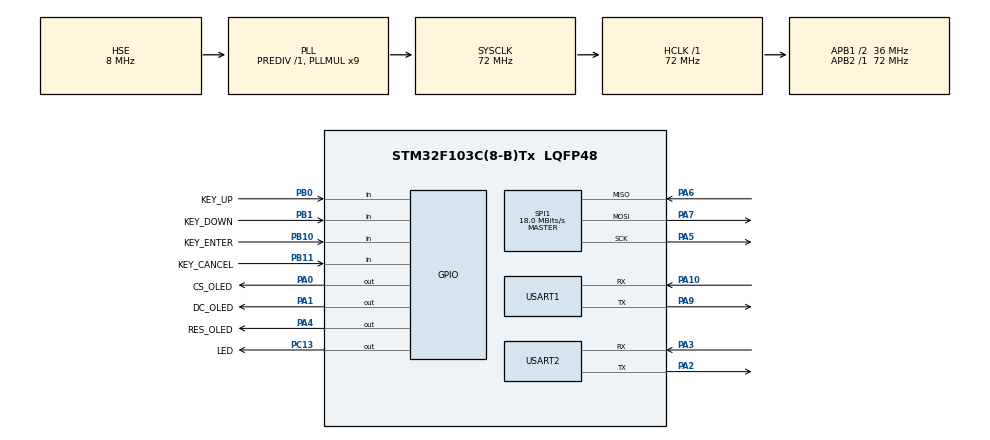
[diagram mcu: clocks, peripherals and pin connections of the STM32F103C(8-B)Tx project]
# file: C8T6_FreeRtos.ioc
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Dma.Request0=SPI1_TX
Dma.Request1=USART1_RX
Dma.Request2=USART1_TX
Dma.Request3=USART2_TX
Dma.Request4=USART2_RX
Dma.SPI1_TX.0.Direction=DMA_MEMORY_TO_PERIPH
Dma.SPI1_TX.0.Instance=DMA1_Channel3
Dma.SPI1_TX.0.MemDataAlignment=DMA_MDATAALIGN_BYTE
Dma.SPI1_TX.0.MemInc=DMA_MINC_ENABLE
Dma.SPI1_TX.0.Mode=DMA_NORMAL
Dma.SPI1_TX.0.PeriphDataAlignment=DMA_PDATAALIGN_BYTE
Dma.SPI1_TX.0.PeriphInc=DMA_PINC_DISABLE
Dma.SPI1_TX.0.Priority=DMA_PRIORITY_LOW
Dma.USART1_RX.1.Direction=DMA_PERIPH_TO_MEMORY
Dma.USART1_RX.1.Instance=DMA1_Channel5
Dma.USART1_RX.1.MemDataAlignment=DMA_MDATAALIGN_BYTE
Dma.USART1_RX.1.MemInc=DMA_MINC_ENABLE
Dma.USART1_RX.1.Mode=DMA_NORMAL
Dma.USART1_RX.1.PeriphDataAlignment=DMA_PDATAALIGN_BYTE
Dma.USART1_RX.1.PeriphInc=DMA_PINC_DISABLE
Dma.USART1_RX.1.Priority=DMA_PRIORITY_LOW
Dma.USART1_TX.2.Direction=DMA_MEMORY_TO_PERIPH
Dma.USART1_TX.2.Instance=DMA1_Channel4
Dma.USART1_TX.2.MemDataAlignment=DMA_MDATAALIGN_BYTE
Dma.USART1_TX.2.MemInc=DMA_MINC_ENABLE
Dma.USART1_TX.2.Mode=DMA_NORMAL
Dma.USART1_TX.2.PeriphDataAlignment=DMA_PDATAALIGN_BYTE
Dma.USART1_TX.2.PeriphInc=DMA_PINC_DISABLE
Dma.USART1_TX.2.Priority=DMA_PRIORITY_LOW
Dma.USART2_RX.4.Direction=DMA_PERIPH_TO_MEMORY
Dma.USART2_RX.4.Instance=DMA1_Channel6
Dma.USART2_RX.4.MemDataAlignment=DMA_MDATAALIGN_BYTE
Dma.USART2_RX.4.MemInc=DMA_MINC_ENABLE
Dma.USART2_RX.4.Mode=DMA_NORMAL
Dma.USART2_RX.4.PeriphDataAlignment=DMA_PDATAALIGN_BYTE
Dma.USART2_RX.4.PeriphInc=DMA_PINC_DISABLE
Dma.USART2_RX.4.Priority=DMA_PRIORITY_LOW
Dma.USART2_TX.3.Direction=DMA_MEMORY_TO_PERIPH
Dma.USART2_TX.3.Instance=DMA1_Channel7
Dma.USART2_TX.3.MemDataAlignment=DMA_MDATAALIGN_BYTE
Dma.USART2_TX.3.MemInc=DMA_MINC_ENABLE
Dma.USART2_TX.3.Mode=DMA_NORMAL
Dma.USART2_TX.3.PeriphDataAlignment=DMA_PDATAALIGN_BYTE
Dma.USART2_TX.3.PeriphInc=DMA_PINC_DISABLE
Dma.USART2_TX.3.Priority=DMA_PRIORITY_LOW
FREERTOS.Events01=UART_EVENT,Dynamic,NULL
FREERTOS.Mutexes01=UART_TXMute,Dynamic,NULL,Available
FREERTOS.Queues01=ACK_Queue,10,prama_Cmd_packet,0,Dynamic,NULL,NULL
FREERTOS.Tasks01=U8G2_TASK,24,128,U8g2_Task,Default,NULL,Dynamic,NULL,NULL;KEY_TASK,8,128,KEY_Task,Default,NULL,Dynamic,NULL,NULL;UART_TASK,47,128,uart_task,Default,NULL,Dynamic,NULL,NULL;ACK_Task,16,128,ACK_TASK,Default,NULL,Dynamic,NULL,NULL
Mcu.Family=STM32F1
Mcu.Name=STM32F103C(8-B)Tx
Mcu.Package=LQFP48
NVIC.DMA1_Channel3_IRQn=true\:5\:0\:false\:false\:true\:true\:false\:true\:true
NVIC.DMA1_Channel4_IRQn=true\:5\:0\:false\:false\:true\:true\:false\:true\:true
NVIC.DMA1_Channel5_IRQn=true\:5\:0\:false\:false\:true\:true\:false\:true\:true
NVIC.DMA1_Channel6_IRQn=true\:5\:0\:false\:false\:true\:true\:false\:true\:true
NVIC.DMA1_Channel7_IRQn=true\:5\:0\:false\:false\:true\:true\:false\:true\:true
NVIC.PriorityGroup=NVIC_PRIORITYGROUP_4
NVIC.TIM4_IRQn=true\:15\:0\:false\:false\:true\:false\:false\:true\:true
NVIC.TimeBase=TIM4_IRQn
NVIC.TimeBaseIP=TIM4
NVIC.USART1_IRQn=true\:5\:0\:false\:false\:true\:true\:true\:true\:true
PA0-WKUP.GPIO_Label=CS_OLED
PA0-WKUP.Signal=GPIO_Output
PA1.GPIO_Label=DC_OLED
PA1.Signal=GPIO_Output
PA10.Mode=Asynchronous
PA10.Signal=USART1_RX
PA13.Mode=Serial_Wire
PA13.Signal=SYS_JTMS-SWDIO
PA14.Mode=Serial_Wire
PA14.Signal=SYS_JTCK-SWCLK
PA2.Mode=Asynchronous
PA2.Signal=USART2_TX
PA3.Mode=Asynchronous
PA3.Signal=USART2_RX
PA4.GPIO_Label=RES_OLED
PA4.Signal=GPIO_Output
PA5.Mode=Full_Duplex_Master
PA5.Signal=SPI1_SCK
PA6.Mode=Full_Duplex_Master
PA6.Signal=SPI1_MISO
PA7.Mode=Full_Duplex_Master
PA7.Signal=SPI1_MOSI
PA9.Mode=Asynchronous
PA9.Signal=USART1_TX
PB0.GPIO_Label=KEY_UP
PB0.GPIO_PuPd=GPIO_PULLDOWN
PB0.Signal=GPIO_Input
PB1.GPIO_Label=KEY_DOWN
PB1.GPIO_PuPd=GPIO_PULLDOWN
PB1.Signal=GPIO_Input
PB10.GPIO_Label=KEY_ENTER
PB10.GPIO_PuPd=GPIO_PULLDOWN
PB10.Signal=GPIO_Input
PB11.GPIO_Label=KEY_CANCEL
PB11.GPIO_PuPd=GPIO_PULLDOWN
PB11.Signal=GPIO_Input
PC13-TAMPER-RTC.GPIO_Label=LED
PC13-TAMPER-RTC.Signal=GPIO_Output
PC14-OSC32_IN.Mode=LSE-External-Oscillator
PC14-OSC32_IN.Signal=RCC_OSC32_IN
PC15-OSC32_OUT.Mode=LSE-External-Oscillator
PC15-OSC32_OUT.Signal=RCC_OSC32_OUT
PD0-OSC_IN.Mode=HSE-External-Oscillator
PD0-OSC_IN.Signal=RCC_OSC_IN
PD1-OSC_OUT.Mode=HSE-External-Oscillator
PD1-OSC_OUT.Signal=RCC_OSC_OUT
ProjectManager.HeapSize=0x200
ProjectManager.StackSize=0x800
ProjectManager.TargetToolchain=MDK-ARM V5.32
RCC.AHBFreq_Value=72000000
RCC.APB1CLKDivider=RCC_HCLK_DIV2
RCC.APB1Freq_Value=36000000
RCC.APB1TimFreq_Value=72000000
RCC.APB2Freq_Value=72000000
RCC.APB2TimFreq_Value=72000000
RCC.HCLKFreq_Value=72000000
RCC.PLLMUL=RCC_PLL_MUL9
RCC.PLLSourceVirtual=RCC_PLLSOURCE_HSE
RCC.RTCClockSelection=RCC_RTCCLKSOURCE_LSE
RCC.SYSCLKFreq_VALUE=72000000
RCC.SYSCLKSource=RCC_SYSCLKSOURCE_PLLCLK
RCC.USBFreq_Value=72000000
RTC.Date=29
RTC.Format=RTC_FORMAT_BIN
RTC.Hours=18
RTC.Minutes=45
RTC.Month=RTC_MONTH_SEPTEMBER
RTC.Seconds=12
RTC.WeekDay=RTC_WEEKDAY_TUESDAY
RTC.Year=25
SPI1.BaudRatePrescaler=SPI_BAUDRATEPRESCALER_4
SPI1.CalculateBaudRate=18.0 MBits/s
SPI1.Direction=SPI_DIRECTION_2LINES
SPI1.Mode=SPI_MODE_MASTER
SPI1.VirtualType=VM_MASTER
USART1.VirtualMode=VM_ASYNC
USART2.VirtualMode=VM_ASYNC
VP_FREERTOS_VS_CMSIS_V2.Mode=CMSIS_V2
VP_RTC_No_RTC_Output.Mode=RTC_OUT_NO
VP_RTC_VS_RTC_Activate.Mode=RTC_Enabled
VP_RTC_VS_RTC_Calendar.Mode=RTC_Calendar
VP_SYS_VS_tim4.Mode=TIM4
board=custom

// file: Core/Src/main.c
/* USER CODE BEGIN Header */
/**
  ******************************************************************************
  * @file           : main.c
  * @brief          : Main program body
  ******************************************************************************
  * @attention
  *
  * Copyright (c) 2025 STMicroelectronics.
  * All rights reserved.
  *
  * This software is licensed under terms that can be found in the LICENSE file
  * in the root directory of this software component.
  * If no LICENSE file comes with this software, it is provided AS-IS.
  *
  ******************************************************************************
  */
/* USER CODE END Header */
#include "main.h"
#include "cmsis_os.h"
#include "dma.h"
#include "rtc.h"
#include "spi.h"
#include "usart.h"
#include "gpio.h"

/* USER CODE BEGIN Includes */
#include "freertos.h"
#include "oled.h"
#include "string.h"
#include "u8g2.h"
#include "u8g2_user.h"
#include "stm32f1xx_ll_tim.h"
/* USER CODE END Includes */

/* USER CODE BEGIN PM */
extern osEventFlagsId_t KEY_EVENTHandle;
extern osMessageQueueId_t UART_QUEUEHandle;
extern osEventFlagsId_t UART_EVENTHandle;
/* USER CODE END PM */

/* USER CODE BEGIN PV */
// 空闲中断缓冲�?
uint8_t temp[16] = {0};
extern DMA_HandleTypeDef hdma_usart1_rx;
/* USER CODE END PV */

void SystemClock_Config(void);
void MX_FREERTOS_Init(void);

int main(void)
{

  /* MCU Configuration--------------------------------------------------------*/

  /* Reset of all peripherals, Initializes the Flash interface and the Systick. */
  HAL_Init();

  /* Configure the system clock */
  SystemClock_Config();

  /* Initialize all configured peripherals */
  MX_GPIO_Init();
  MX_DMA_Init();
  MX_SPI1_Init();
  MX_USART1_UART_Init();
  MX_USART2_UART_Init();
  MX_RTC_Init();
  /* USER CODE BEGIN 2 */
  // 启动空闲中断
	HAL_UARTEx_ReceiveToIdle_DMA(&huart1,temp,sizeof(temp));
  /* USER CODE END 2 */

  /* Init scheduler */
  osKernelInitialize();  /* Call init function for freertos objects (in cmsis_os2.c) */
  MX_FREERTOS_Init();

  /* Start scheduler */
  osKernelStart();

  /* We should never get here as control is now taken by the scheduler */

  /* Infinite loop */
  while (1)
  {

  }
}

void SystemClock_Config(void)
{
  RCC_OscInitTypeDef RCC_OscInitStruct = {0};
  RCC_ClkInitTypeDef RCC_ClkInitStruct = {0};
  RCC_PeriphCLKInitTypeDef PeriphClkInit = {0};

  /** Initializes the RCC Oscillators according to the specified parameters
  * in the RCC_OscInitTypeDef structure.
  */
  RCC_OscInitStruct.OscillatorType = RCC_OSCILLATORTYPE_HSE|RCC_OSCILLATORTYPE_LSE;
  RCC_OscInitStruct.HSEState = RCC_HSE_ON;
  RCC_OscInitStruct.HSEPredivValue = RCC_HSE_PREDIV_DIV1;
  RCC_OscInitStruct.LSEState = RCC_LSE_ON;
  RCC_OscInitStruct.HSIState = RCC_HSI_ON;
  RCC_OscInitStruct.PLL.PLLState = RCC_PLL_ON;
  RCC_OscInitStruct.PLL.PLLSource = RCC_PLLSOURCE_HSE;
  RCC_OscInitStruct.PLL.PLLMUL = RCC_PLL_MUL9;
  if (HAL_RCC_OscConfig(&RCC_OscInitStruct) != HAL_OK)
  {
    Error_Handler();
  }

  /** Initializes the CPU, AHB and APB buses clocks
  */
  RCC_ClkInitStruct.ClockType = RCC_CLOCKTYPE_HCLK|RCC_CLOCKTYPE_SYSCLK
                              |RCC_CLOCKTYPE_PCLK1|RCC_CLOCKTYPE_PCLK2;
  RCC_ClkInitStruct.SYSCLKSource = RCC_SYSCLKSOURCE_PLLCLK;
  RCC_ClkInitStruct.AHBCLKDivider = RCC_SYSCLK_DIV1;
  RCC_ClkInitStruct.APB1CLKDivider = RCC_HCLK_DIV2;
  RCC_ClkInitStruct.APB2CLKDivider = RCC_HCLK_DIV1;

  if (HAL_RCC_ClockConfig(&RCC_ClkInitStruct, FLASH_LATENCY_2) != HAL_OK)
  {
    Error_Handler();
  }
  PeriphClkInit.PeriphClockSelection = RCC_PERIPHCLK_RTC;
  PeriphClkInit.RTCClockSelection = RCC_RTCCLKSOURCE_LSE;
  if (HAL_RCCEx_PeriphCLKConfig(&PeriphClkInit) != HAL_OK)
  {
    Error_Handler();
  }
}

/* USER CODE BEGIN 4 */

void HAL_UARTEx_RxEventCallback(UART_HandleTypeDef *huart, uint16_t Size)
{
  UartFrame* frame = Get_Uart_Frame_Buffer();
  if (huart->Instance == USART1)
  {
    osEventFlagsSet(UART_EVENTHandle,UART_RECEIVE_EVENT );
	  HAL_UARTEx_ReceiveToIdle_DMA(&huart1,temp,sizeof(temp));
    Uart_Buffer_Put_frame(frame, temp, Size);
	  __HAL_DMA_DISABLE_IT(&hdma_usart1_rx,DMA_IT_HT);      //过半中断，为了保证数据完整�?�，必须�?启它
  }

}

void HAL_UART_ErrorCallback(UART_HandleTypeDef* huart) {
    if (huart->Instance == USART1)
    {
        LOG_FATAL("UART error: 0x%08lX", huart->ErrorCode);

        // 清除错误并重新初始化
        huart->ErrorCode = HAL_UART_ERROR_NONE;

      if (__HAL_UART_GET_FLAG(&huart1, UART_FLAG_ORE))
      {
          LOG_WARN("ORE detected in task, recovering...");
          __HAL_UART_CLEAR_OREFLAG(&huart1);
          // 重新启动DMA接收
          HAL_UARTEx_ReceiveToIdle_DMA(&huart1, temp, sizeof(temp));
      }
    }
}

/* USER CODE END 4 */

void HAL_TIM_PeriodElapsedCallback(TIM_HandleTypeDef *htim)
{
  if (htim->Instance == TIM4)
  {
    HAL_IncTick();
  }
}

void Error_Handler(void)
{
  __disable_irq();
  while (1)
  {
  }
}

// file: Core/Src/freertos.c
/* USER CODE BEGIN Header */
/**
  ******************************************************************************
  * File Name          : freertos.c
  * Description        : Code for freertos applications
  ******************************************************************************
  * @attention
  *
  * Copyright (c) 2025 STMicroelectronics.
  * All rights reserved.
  *
  * This software is licensed under terms that can be found in the LICENSE file
  * in the root directory of this software component.
  * If no LICENSE file comes with this software, it is provided AS-IS.
  *
  ******************************************************************************
  */
/* USER CODE END Header */

#include "FreeRTOS.h"
#include "task.h"
#include "main.h"
#include "cmsis_os.h"

/* USER CODE BEGIN Includes */
#include "u8g2.h"
#include "u8g2_user.h"
#include "menu.h"
#include "protocol.h"
#include "Log.h"
#include "rtc.h"
#include "multikey.h"
/* USER CODE END Includes */

/* USER CODE BEGIN PTD */
#define SLAVE_MODE 0
#define MENU_USE_CMSIS_OS2
/* USER CODE END PTD */

/* USER CODE BEGIN PM */
prama_Cmd_packet Ack_packet = {
  .cmd_type = ACK,
  .param_value = {0}
};
/* USER CODE END PM */

typedef struct
{
  Rounter rounter;
  uint8_t passenger_num;
}Route_Info;
#define Router_NUM 4
Route_Info route_info[Router_NUM];

VehicleStatus status = STATUS_IDLE;  // 车辆状态，默认为空闲状态
extern uint8_t temp[16];                                                          // 来自main.c的缓冲区
u8g2_t u8g2;                                                                      // u8g2对象
int index = 0;                                                                    // String_Option的字符串数组索引
const char* router_str[Router_NUM] = {"Rounter1","Rounter2","Rounter3","Ring",};
const char* String_Option[] = {"begin","test1","test2","test3","end"};            // 测试的字符串
bool toggle = false;                                                              // 测试bool节点的变�???
int32_t passenger_num[Router_NUM] = {0};                                                        // 存储乘客的变�???
uint8_t passenger_temp[Router_NUM] = {0};                                         // 暂存passenger的数量的变量，一旦与实际passenger不同，立刻向esp32发�?�信�???
// 用于跟踪菜单信息的数据结构体指指�???
menu_data_t* menu_data_ptr;
// 节点指针
menu_item_t* root = NULL;
menu_item_t* sub1 = NULL;
menu_item_t* sub2 = NULL;
menu_item_t* sub3 = NULL;
menu_item_t* sub4 = NULL;
menu_item_t* sub5 = NULL;
menu_item_t* sub1_sub1 = NULL;
menu_item_t* sub1_sub2 = NULL;
menu_item_t* sub1_sub3 = NULL;
menu_item_t* sub1_sub4 = NULL;
menu_item_t* sub2_sub1 = NULL;
menu_item_t* sub2_sub2 = NULL;
menu_item_t* main_display = NULL;
menu_item_t* sub4_sub1 = NULL;
menu_item_t* sub4_sub2 = NULL;
menu_item_t* sub4_sub3 = NULL;
menu_item_t* sub4_sub4 = NULL;
menu_item_t* sub4_sub5 = NULL;
menu_item_t* sub4_sub6 = NULL;
menu_item_t* sub4_sub7 = NULL;
menu_item_t* sub5_sub1 = NULL;
menu_item_t* sub5_sub2 = NULL;
menu_item_t* sub5_sub3 = NULL;
menu_item_t* sub5_sub4 = NULL;
menu_item_t* sub5_sub5 = NULL;
menu_item_t* sub5_sub6 = NULL;

// RTC内部结构�???
  RTC_DateTypeDef sDate = {0};
  RTC_TimeTypeDef sTime = {0};
typedef struct
{
  int32_t seconds;                  // 暂存�???
  int32_t minutes;                  // 暂存�???
  int32_t hours;                    // 暂存�???
  int32_t day;                      // 暂存�???
  int32_t month;                    // 暂存�???
  int32_t year;                     // 暂存�???
}Clock_t;
Clock_t Clock = {0};                // 暂存时间结构�???
/* USER CODE END Variables */
/* Definitions for U8G2_TASK */
osThreadId_t U8G2_TASKHandle;
const osThreadAttr_t U8G2_TASK_attributes = {
  .name = "U8G2_TASK",
  .stack_size = 128 * 4,
  .priority = (osPriority_t) osPriorityNormal,
};
/* Definitions for KEY_TASK */
osThreadId_t KEY_TASKHandle;
const osThreadAttr_t KEY_TASK_attributes = {
  .name = "KEY_TASK",
  .stack_size = 128 * 4,
  .priority = (osPriority_t) osPriorityLow,
};
/* Definitions for UART_TASK */
osThreadId_t UART_TASKHandle;
const osThreadAttr_t UART_TASK_attributes = {
  .name = "UART_TASK",
  .stack_size = 128 * 4,
  .priority = (osPriority_t) osPriorityHigh7,
};
/* Definitions for ACK_Task */
osThreadId_t ACK_TaskHandle;
const osThreadAttr_t ACK_Task_attributes = {
  .name = "ACK_Task",
  .stack_size = 128 * 4,
  .priority = (osPriority_t) osPriorityBelowNormal,
};
/* Definitions for ACK_Queue */
osMessageQueueId_t ACK_QueueHandle;
const osMessageQueueAttr_t ACK_Queue_attributes = {
  .name = "ACK_Queue"
};
/* Definitions for UART_TXMute */
osMutexId_t UART_TXMuteHandle;
const osMutexAttr_t UART_TXMute_attributes = {
  .name = "UART_TXMute"
};
/* Definitions for UART_EVENT */
osEventFlagsId_t UART_EVENTHandle;
const osEventFlagsAttr_t UART_EVENT_attributes = {
  .name = "UART_EVENT"
};

void U8g2_Task(void *argument);
void KEY_Task(void *argument);
void uart_task(void *argument);
void ACK_TASK(void *argument);

void MX_FREERTOS_Init(void); /* (MISRA C 2004 rule 8.1) */

void MX_FREERTOS_Init(void) {
  /* Create the mutex(es) */
  /* creation of UART_TXMute */
  UART_TXMuteHandle = osMutexNew(&UART_TXMute_attributes);

  /* Create the queue(s) */
  /* creation of ACK_Queue */
  ACK_QueueHandle = osMessageQueueNew (10, sizeof(prama_Cmd_packet), &ACK_Queue_attributes);

  /* Create the thread(s) */
  /* creation of U8G2_TASK */
  U8G2_TASKHandle = osThreadNew(U8g2_Task, NULL, &U8G2_TASK_attributes);

  /* creation of KEY_TASK */
  KEY_TASKHandle = osThreadNew(KEY_Task, NULL, &KEY_TASK_attributes);

  /* creation of UART_TASK */
  UART_TASKHandle = osThreadNew(uart_task, NULL, &UART_TASK_attributes);

  /* creation of ACK_Task */
  ACK_TaskHandle = osThreadNew(ACK_TASK, NULL, &ACK_Task_attributes);

  /* creation of UART_EVENT */
  UART_EVENTHandle = osEventFlagsNew(&UART_EVENT_attributes);

}

/* USER CODE BEGIN Header_U8g2_Task */

static int test_var = 0;                                            // INT类型的变�???

/**
 * @brief    作为sub1_sub1的回调函�???
 */
void test()
{
  // Ack_Queue_t ack_queue_t = {
  //   .type = INT,
  //   .value.int_value = test_var
  // };
  prama_Cmd_packet ack_queue_t = {
    .cmd_type = INT,
    .param_value = {0}
  };
  wr_u32_be(ack_queue_t.param_value, (uint32_t)test_var);
  osMessageQueuePut(ACK_QueueHandle,&ack_queue_t,0,osWaitForever);
}

static void uart_tx(uint8_t* data,uint8_t length)
{
  HAL_UART_Transmit(&huart1, data, length, HAL_MAX_DELAY);
}

static void INT_Handler(uint8_t* data)
{
  int32_t value = (int32_t)rd_u32_be(data);
  LOG_INFO("handle_INT called with value: %d", value);
  UART_Protocol_Transmit(&Ack_packet);
}

static void FLOAT_Handler(uint8_t* data)
{
  float value = rd_f32_be(data);
  LOG_INFO("handle_FLOAT called with value: %f", value);
  UART_Protocol_Transmit(&Ack_packet);
}

/**
 * @brief    作为sub1_sub3的回调函�???
 */
void test2()
{
  // Ack_Queue_t ack_queue_t = {
  //   .type = FLOAT,
  //   .value.float_value = 3.3
  // };
  prama_Cmd_packet ack_queue_t = {
    .cmd_type = FLOAT,
    .param_value = {0}
  };
  wr_u32_be(ack_queue_t.param_value, *((uint32_t*)&(float){3.3f}));
  osMessageQueuePut(ACK_QueueHandle,&ack_queue_t,0,osWaitForever);

}

/**
 * @brief    作为sub1_sub4的回调函�???
 */
void test3()
{
  // Ack_Queue_t ack_queue_t = {
  //   .type = ACK,
  //   .value.int_value = 0
  // };
  prama_Cmd_packet ack_queue_t = {
    .cmd_type = ACK,
    .param_value = {0}
  };
  osMessageQueuePut(ACK_QueueHandle,&ack_queue_t,0,osWaitForever);
}

/**
 * @brief    作为sub4的进入回调函�???,目的暂存进入当前任务的时�???
 * @param    item      当前节点信息，用户无�???了解
 */
void set_RTC_TEMP(menu_item_t* item)
{
  Clock.seconds = sTime.Seconds;
  Clock.minutes = sTime.Minutes;
  Clock.hours = sTime.Hours;
  Clock.day = sDate.Date;
  Clock.month = sDate.Month;
  Clock.year = sDate.Year;
}

/**
 * @brief    作为sub4_sub7的回调函数，目的是向RTC备份寄存器写入年月日和修改时分秒
 */
void RTC_Set_Time()
{
  sTime.Hours = Clock.hours;
  sTime.Minutes = Clock.minutes;
  sTime.Seconds = Clock.seconds;
  if (HAL_RTC_SetTime(&hrtc, &sTime, RTC_FORMAT_BIN) != HAL_OK)
  {
    Error_Handler();
  }
  sDate.Month = Clock.month;
  sDate.Date = Clock.day;
  sDate.Year = Clock.year;
  if (HAL_RTC_SetDate(&hrtc, &sDate, RTC_FORMAT_BIN) != HAL_OK)
  {
    Error_Handler();
  }
  RTC_SaveDate(&sDate);
  HAL_RTC_SetDate(&hrtc, &sDate, RTC_FORMAT_BIN);
  LOG_DEBUG("Seted date: %04d-%02d-%02d", sDate.Year + 2000, sDate.Month, sDate.Date);
  RTC_RestoreDate(&sDate);
  LOG_DEBUG("Restored date: %04d-%02d-%02d", sDate.Year + 2000, sDate.Month, sDate.Date);
}

void Waitting_Signal_cb()
{
  // Ack_Queue_t ack_queue_t = {
  //   .type = VEHICLE_STATUS,
  //   .value.status_value = STATUS_WAITING,
  // };
  prama_Cmd_packet ack_queue_t = {
    .cmd_type = VEHICLE_STATUS,
    .param_value[0] = {0},
  };
  ack_queue_t.param_value[0] = (uint8_t)STATUS_WAITING;
  osMessageQueuePut(ACK_QueueHandle,&ack_queue_t,0,osWaitForever);
}

void Leaving_Signal_cb()
{
  // Ack_Queue_t ack_queue_t = {
  //   .type = VEHICLE_STATUS,
  //   .value.status_value = STATUS_LEAVING,
  // };
  prama_Cmd_packet ack_queue_t = {
    .cmd_type = VEHICLE_STATUS,
    .param_value[0] = {0},
  };
  ack_queue_t.param_value[0] = (uint8_t)STATUS_LEAVING;
  osMessageQueuePut(ACK_QueueHandle,&ack_queue_t,0,osWaitForever);
}

/**
 * @brief    作为sub5_sub2的回调函数，目的是向esp32发�?�当前的乘客数量
 */
void Send_Passenger()
{
  // Ack_Queue_t ack_queue_t;
  prama_Cmd_packet ack_queue_t;
  for (uint8_t i = 0; i < Router_NUM; i++)
  {
    ack_queue_t.cmd_type = PASSENGER_NUM;
    ack_queue_t.param_value[1] = passenger_num[i];
    ack_queue_t.param_value[0] = (Rounter)i;
    osMessageQueuePut(ACK_QueueHandle,&ack_queue_t,0,osWaitForever);
  }
}

/**
 * @brief    作为sub5_sub3的回调函数，目的是向esp32发�?�清空当前乘客数量指�???
 */
void Send_Clear()
{
  // Ack_Queue_t ack_queue_t;
  prama_Cmd_packet ack_queue_t;
  for (uint8_t i = 0; i < Router_NUM; i++)
  {
    ack_queue_t.cmd_type = CLEAR;
    ack_queue_t.param_value[0] = (Rounter)i;
    osMessageQueuePut(ACK_QueueHandle,&ack_queue_t,0,osWaitForever);
  }
}

/**
 * @brief    作为main_display节点的回调函数，目的是作为渲染首页面
 * @param    u8g2      u8g2句柄,回调函数固定参数
 * @param    menu_data 节点数据句柄,回调函数固定参数
 */
void main_display_cb(u8g2_t* u8g2, menu_data_t* menu_data)
{

  char buf[32];

  // 1. 顶部大时间显�?????
  u8g2_SetFont(u8g2, u8g2_font_logisoso26_tn);
  snprintf(buf, sizeof(buf), "%02d:%02d", sTime.Hours, sTime.Minutes);
  uint8_t time_width = u8g2_GetStrWidth(u8g2, buf);
  u8g2_DrawStr(u8g2, 0, 30, buf);

  u8g2_SetFont(u8g2, u8g2_font_9x6LED_mn);
  snprintf(buf, sizeof(buf), "%04d-%02d-%02d",
           sDate.Year + 2000, sDate.Month, sDate.Date);
  uint8_t date_width = u8g2_GetStrWidth(u8g2, buf);
  u8g2_DrawStr(u8g2, 0, 40, buf);
  // 2. 秒数小字显示
  u8g2_SetFont(u8g2, u8g2_font_6x10_tf);
  snprintf(buf, sizeof(buf), "%02d", sTime.Seconds);
  u8g2_DrawStr(u8g2, time_width + 5, 30, buf);

  #if SLAVE_MODE
  // 显示状态
  const char* status_str = (status == STATUS_IDLE) ? "IDLE" :
                           (status == STATUS_ARRIVING) ? "ARRIVING" :
                           (status == STATUS_WAITING) ? "WAITING" :"IDLE";
  snprintf(buf, sizeof(buf), "Status:%s", status_str);
  u8g2_DrawStr(u8g2, 0, 55, buf);
  #else
  // 显示乘客数量
  uint8_t num = 0;
  for (uint8_t i = 0; i < Router_NUM; i++)
  {
    num += passenger_num[i];
  }
  snprintf(buf, sizeof(buf), "Passenger:%d", num);
  u8g2_DrawStr(u8g2, 0, 55, buf);
  #endif

}

/**
  * @brief  Function implementing the U8G2_TASK thread.
  * @param  argument: Not used
  * @retval None
  */
/* USER CODE END Header_U8g2_Task */
void U8g2_Task(void *argument)
{
  /* USER CODE BEGIN U8g2_Task */
  u8g2Init(&u8g2);
  LOG_INFO("u8g2 init has been finished...");
  u8g2_FirstPage(&u8g2);
  root = create_submenu_item("main_menu",NULL,NULL);
  sub1 = create_submenu_item("param_int",NULL,NULL);
  sub2 = create_submenu_item("param_enum",NULL,NULL);
  sub3 = create_toggle_item("toggle",&toggle);
  sub4 = create_submenu_item("Clock_Set",set_RTC_TEMP,NULL);
  sub5 = create_submenu_item("Set_passenger",NULL,NULL);
  sub1_sub1 = create_function_item("SendUART_INT", test);
  sub1_sub2 = create_param_int_item("Change_int", &test_var, 0, 100, 1);
  sub1_sub3 = create_function_item("SendUART_FLOAT", test2);
  sub1_sub4 = create_function_item("SendUART_ACK", test3);
  sub2_sub1 = create_param_enum_item("Change_param",&index,String_Option,5);
  sub4_sub1 = create_param_int_item("seconds", &Clock.seconds, 0, 59, 1);
  sub4_sub2 = create_param_int_item("minutes", &Clock.minutes, 0,59, 1);
  sub4_sub3 = create_param_int_item("hours", &Clock.hours, 0, 23, 1);
  sub4_sub4 = create_param_int_item("years", &Clock.year, 0, 99, 1);
  sub4_sub5 = create_param_int_item("monthes", &Clock.month, 1, 12, 1);
  sub4_sub6 = create_param_int_item("days", &Clock.day, 1, 31, 1);
  sub4_sub7 = create_function_item("Set_time",RTC_Set_Time);
  #if SLAVE_MODE
  sub5_sub1 = create_function_item("watting_Signal",Waitting_Signal_cb);
  sub5_sub2 = create_function_item("leaving_Signal",Leaving_Signal_cb);
  #else
  sub5_sub1 = create_param_int_item("Set_R1_Passenger",&passenger_num[Route_1],0,255,1);
  sub5_sub2 = create_param_int_item("Set_R2_Passenger",&passenger_num[Route_2],0,255,1);
  sub5_sub3 = create_param_int_item("Set_R3_Passenger",&passenger_num[Route_3],0,255,1);
  sub5_sub4 = create_param_int_item("Set_Ring_Passenger",&passenger_num[Ring_road],0,255,1);
  sub5_sub5 = create_function_item("SendUART_Passenger",Send_Passenger);
  sub5_sub6 = create_function_item("clear",Send_Clear);
  #endif // SLAVE_MODE
  main_display = create_main_item("main",root, main_display_cb);
  Link_Parent_Child(root, sub1);
  Link_next_sibling(sub1, sub2);
  Link_next_sibling(sub2, sub3);
  Link_next_sibling(sub3, sub4);
  Link_next_sibling(sub4, sub5);
  Link_Parent_Child(sub1, sub1_sub1);
  Link_next_sibling(sub1_sub1, sub1_sub2);
  Link_next_sibling(sub1_sub2, sub1_sub3);
  Link_next_sibling(sub1_sub3, sub1_sub4);
  Link_Parent_Child(sub2, sub2_sub1);
  Link_Parent_Child(sub4, sub4_sub1);
  Link_next_sibling(sub4_sub1, sub4_sub2);
  Link_next_sibling(sub4_sub2, sub4_sub3);
  Link_next_sibling(sub4_sub3, sub4_sub4);
  Link_next_sibling(sub4_sub4, sub4_sub5);
  Link_next_sibling(sub4_sub5, sub4_sub6);
  Link_next_sibling(sub4_sub6, sub4_sub7);
  Link_Parent_Child(sub5,sub5_sub1);
  Link_next_sibling(sub5_sub1,sub5_sub2);
  #if !SLAVE_MODE
  Link_next_sibling(sub5_sub2,sub5_sub3);
  Link_next_sibling(sub5_sub3,sub5_sub4);
  Link_next_sibling(sub5_sub4,sub5_sub5);
  Link_next_sibling(sub5_sub5,sub5_sub6);
  #endif
  menu_data_ptr = menu_data_init(main_display);
  LOG_INFO("menu Nodes is has been inited ...");
  LOG_INFO("u8g2 task has been init...");
  for (uint8_t i = 0; i < Router_NUM; i++)
  {
    route_info[i].passenger_num = 0;
    route_info[i].rounter = (Rounter)i;
    LOG_INFO("Router %d ready",i);
  }
  /* Infinite loop */
  for(;;)
  {
    static uint32_t last_tick = 0;
    HAL_RTC_GetTime(&hrtc, &sTime, RTC_FORMAT_BIN);
    HAL_RTC_GetDate(&hrtc, &sDate, RTC_FORMAT_BIN);
    if (osKernelGetTickCount() - last_tick > 60000)
    {
      RTC_SaveDate(&sDate);
      LOG_INFO("Date has been saved to Backup reg...");
      last_tick = osKernelGetTickCount();
    }
    u8g2_FirstPage(&u8g2);
    update_animation(menu_data_ptr);

  //  static uint8_t progess = 0;
    do {
      show_menu(&u8g2,menu_data_ptr,3);
      // u8g2_DrawBox(&u8g2,progess,0,128,15);
    } while (u8g2_NextPage(&u8g2));
    // progess = (progess + 1) % 128;
    osDelay(1);
  }
  /* USER CODE END U8g2_Task */
}

/* USER CODE BEGIN Header_KEY_Task */
/**
 * @brief    UP按键的按键检测函�???,用于按键对象回调
 * @param    key       按键对象句柄,回调函数固定参数
 * @return   uint8_t   按键状�??,只有0�???1两个参数
 */
uint8_t Key_UP_ReadPin(MulitKey_t* key)
{
  return HAL_GPIO_ReadPin(KEY_UP_GPIO_Port,KEY_UP_Pin);
}

/**
 * @brief    DOWN按键的按键检测函�???,用于按键对象回调
 * @param    key       按键对象句柄,回调函数固定参数
 * @return   uint8_t   按键状�??,只有0�???1两个参数
 */
uint8_t Key_DOWN_ReadPin(MulitKey_t* key)
{
  return HAL_GPIO_ReadPin(KEY_DOWN_GPIO_Port,KEY_DOWN_Pin);
}

/**
 * @brief    ENTER按键的按键检测函�???,用于按键对象回调
 * @param    key       按键对象句柄,回调函数固定参数
 * @return   uint8_t   按键状�??,只有0�???1两个参数
 */
uint8_t Key_ENTER_ReadPin(MulitKey_t* key)
{
  return HAL_GPIO_ReadPin(KEY_ENTER_GPIO_Port,KEY_ENTER_Pin);
}

/**
 * @brief    CANCEL按键的按键检测函�???,用于按键对象回调
 * @param    key       按键对象句柄,回调函数固定参数
 * @return   uint8_t   按键状�??,只有0�???1两个参数
 */
uint8_t Key_CANCEL_ReadPin(MulitKey_t* key)
{
  return HAL_GPIO_ReadPin(KEY_CANCEL_GPIO_Port,KEY_CANCEL_Pin);
}

/**
 * @brief    UP键触发回�???
 * @attention 注意，该函数已经被单按和长按同时调用
 * @param    key       按键对象句柄,回调函数固定参数
 */
void KEY_UP_Pressed(MulitKey_t* key)
{
  navigate_up(menu_data_ptr);
}

/**
 * @brief    DOWN键触发回�???
 * @attention 注意，该函数已经被单按和长按同时调用
 * @param    key       按键对象句柄,回调函数固定参数
 */
void KEY_DOWN_Pressed(MulitKey_t* key)
{
  navigate_down(menu_data_ptr);
}

/**
 * @brief    ENTER键触发回�???
 * @attention 注意，该函数已经被单按和长按同时调用
 * @param    key       按键对象句柄,回调函数固定参数
 */
void KEY_ENTER_Pressed(MulitKey_t* key)
{
  navigate_enter(menu_data_ptr);
}

/**
 * @brief    CANCEL键触发回�???
 * @attention 注意，该函数已经被单按和长按同时调用
 * @param    key       按键对象句柄,回调函数固定参数
 */
void KEY_CANCEL_Pressed(MulitKey_t* key)
{
  navigate_back(menu_data_ptr);
}

/**
 * @brief    该函数是收到PASSENGER信息的回调函�???
 * @param    value     function of param
 */
void synchronized_passengers(uint8_t* data)
{
  Rounter rounter = (Rounter)data[0];
  uint8_t value = data[1];
  passenger_num[rounter] = value;
  LOG_INFO("Synchronized passenger num:%d for router:%d",value,rounter);
  UART_Protocol_Transmit(&Ack_packet);
}

void ACK_Event_mutex(uint8_t* data)
{
  if (UART_TXMuteHandle != NULL)
  {
    LOG_INFO("Receive ACK");
    osEventFlagsSet(UART_EVENTHandle, UART_RECEIVE_ACK_EVENT);
  }

}

void Clear_Event(uint8_t* data)
{
  Rounter rounter = (Rounter)data[0];
  LOG_INFO("Clear passenger num for router:%d",rounter);
  passenger_num[rounter] = 0;
  UART_Protocol_Transmit(&Ack_packet);
}

void VehicleStatus_Callback(uint8_t* data)
{
  status = (VehicleStatus)data[0];
  LOG_INFO("Vehicle status changed:%d",status);
  UART_Protocol_Transmit(&Ack_packet);
}
/**
* @brief Function implementing the KEY_TASK thread.
* @param argument: Not used
* @retval None
*/
/* USER CODE END Header_KEY_Task */
void KEY_Task(void *argument)
{
  /* USER CODE BEGIN KEY_Task */
  prama_Cmd_packet packet = {
    .cmd_type = VEHICLE_STATUS,
    .param_value = {0}
  };
  // packet.param_value[0] = (uint8_t)Route_3;
  // packet.param_value[1] = 45;
  packet.param_value[0] = (uint8_t)STAUS_DISCONNECTED;
  // wr_f32_be(packet.param_value,3.14f);
  // wr_u32_be(packet.param_value,1234);
  static uint32_t last_tick = 0;
  MulitKey_t Key_UP_S;                  // UP按键对象
  MulitKey_t Key_DOWN_S;                // DOWN按键对象
  MulitKey_t Key_ENTER_S;               // ENTER按键对象
  MulitKey_t Key_CANCEL_S;              // CANCEL按键对象
  MulitKey_Init(&Key_UP_S,Key_UP_ReadPin,KEY_UP_Pressed,KEY_UP_Pressed,RISE_BORDER_TRIGGER);
  MulitKey_Init(&Key_DOWN_S,Key_DOWN_ReadPin,KEY_DOWN_Pressed,KEY_DOWN_Pressed,RISE_BORDER_TRIGGER);
  MulitKey_Init(&Key_ENTER_S,Key_ENTER_ReadPin,KEY_ENTER_Pressed,KEY_ENTER_Pressed,RISE_BORDER_TRIGGER);
  MulitKey_Init(&Key_CANCEL_S,Key_CANCEL_ReadPin,KEY_CANCEL_Pressed,KEY_CANCEL_Pressed,RISE_BORDER_TRIGGER);
  UART_protocol UART_protocol_structure = {
    .Headerframe1 = 0xAA,
    .Headerframe2 = 0x55,
    .Tailframe1 = 0x0D,
    .Tailframe2 = 0x0A
  };
  LOG_INFO("KEY task has been init ...");
  /* Infinite loop */
  for(;;)
  {
    MulitKey_Scan(&Key_UP_S);
    MulitKey_Scan(&Key_DOWN_S);
    MulitKey_Scan(&Key_ENTER_S);
    MulitKey_Scan(&Key_CANCEL_S);
    if(osKernelGetTickCount() - last_tick > 5000)
    {
      // UART_Protocol_Transmit(&packet);
      // Ack_Queue_t ack_queue_t = {
      //   .type = INT,
      //   .value.int_value = test_var
      // };
      // osMessageQueuePut(ACK_QueueHandle,&ack_queue_t,0,osWaitForever);
      // printf("send test int cmd\r\n");
      last_tick = osKernelGetTickCount();
    }
    osDelay(1);
  }
  /* USER CODE END KEY_Task */
}

void uart_task(void *argument)
{
  /* USER CODE BEGIN uart_task */
  UART_protocol UART_protocol_structure = {
    .Headerframe1 = 0xAA,
    .Headerframe2 = 0x55,
    .Tailframe1 = 0x0D,
    .Tailframe2 = 0x0A
  };
  prama_Cmd_packet ack_queue_t;
  uint8_t data[32] = {0};                                             // 暂存数据帧的缓冲�???
  UartFrame* frame_buffer = Get_Uart_Frame_Buffer();                  // 获得环形环形缓冲区的指针
  uint32_t flags;                                                     // 事件�???
  LOG_INFO("UART_RX task has been init ...");
  UART_Protocol_Init(UART_protocol_structure,uart_tx);
  UART_Protocol_Register_Hander(INT,INT_Handler,4);
  UART_Protocol_Register_Hander(FLOAT,FLOAT_Handler,4);
  UART_Protocol_Register_Hander(ACK,ACK_Event_mutex,0);
  UART_Protocol_Register_Hander(PASSENGER_NUM,synchronized_passengers,2);
  UART_Protocol_Register_Hander(CLEAR,Clear_Event,1);
  UART_Protocol_Register_Hander(VEHICLE_STATUS,VehicleStatus_Callback,1);
  /* Infinite loop */
  for(;;)
  {
    flags = osEventFlagsWait(UART_EVENTHandle,UART_RECEIVE_EVENT,osFlagsWaitAny,100);
    if(flags & UART_RECEIVE_EVENT)                                    // 事件组收到�?�知，立刻处理数据帧
    {
      LOG_INFO("data frame is has came ... , Size = %d",frame_buffer->Size);
      memset(data,0,sizeof(data));                                    // 防止有残留数据帧，清空缓冲区
      uint16_t size = frame_buffer->Size;                             // 获得该帧长度
      Uart_Buffer_Get_frame(frame_buffer,data);                       // 从环形缓冲区提取出帧数据，方便处�???
      Receive_Uart_Frame(UART_protocol_structure,data,size);          // 处理数据
    }
    else
    {
      for(uint8_t i = 0; i < Router_NUM;i++)
      {
        if(passenger_temp[i] != passenger_num[i])                             // �???旦与实际passenger不同，立刻向esp32发�?�信�???
        {
          ack_queue_t.cmd_type = PASSENGER_NUM;
          ack_queue_t.param_value[1] = passenger_num[i];
          ack_queue_t.param_value[0] = (Rounter)i;
          osMessageQueuePut(ACK_QueueHandle,&ack_queue_t,0,osWaitForever);
          passenger_temp[i] = passenger_num[i];                               // 保持同步
        }
      }
      // 超时，检查ORE标志
      if (__HAL_UART_GET_FLAG(&huart1, UART_FLAG_ORE))                // ORE异常，需要马上恢复缓冲区,否则DMA会瘫�???
      {
          LOG_WARN("ORE detected in task, recovering...");
          __HAL_UART_CLEAR_OREFLAG(&huart1);
          // 重新启动DMA接收
          HAL_UARTEx_ReceiveToIdle_DMA(&huart1, temp, sizeof(temp));
      }
    }
  }
  /* USER CODE END uart_task */
}

void ACK_TASK(void *argument)
{
  /* USER CODE BEGIN ACK_TASK */
  prama_Cmd_packet ack_queue_t;
  UART_protocol UART_protocol_structure = {
    .Headerframe1 = 0xAA,
    .Headerframe2 = 0x55,
    .Tailframe1 = 0x0D,
    .Tailframe2 = 0x0A
  };
  prama_Cmd_packet packet = {
    .cmd_type = INT,
    .param_value = {0}
  };
  LOG_INFO("ACK task has been init ...");
  uint32_t flags = osEventFlagsGet(UART_EVENTHandle);
  LOG_INFO("flags:0x%.2x",flags);
  /* Infinite loop */
  for(;;)
  {
    if (osMessageQueueGet(ACK_QueueHandle,&ack_queue_t,NULL,osWaitForever) == osOK)
    {
      // LOG_INFO("ACK task received command type:%d",ack_queue_t.type);
      flags = osEventFlagsGet(UART_EVENTHandle);
      LOG_DEBUG("flags:0x%.2x",flags);
      const uint32_t timeout_ms = 200;
      bool ACK_required = (ack_queue_t.cmd_type != ACK); // 如果是ACK命令，则不需要等待ACK
      for (size_t i = 0; i < 3 && ACK_required; i++)
      {
        if (osMutexAcquire(UART_TXMuteHandle,osWaitForever) != osOK)
        {
          LOG_WARN("Failed to acquire UART_TXMute mutex");
          continue;
        }
        packet.cmd_type = ack_queue_t.cmd_type;
        memcpy(packet.param_value,ack_queue_t.param_value,sizeof(ack_queue_t.param_value));
        UART_Protocol_Transmit(&packet);
        osMutexRelease(UART_TXMuteHandle);

        flags = osEventFlagsWait(UART_EVENTHandle,UART_RECEIVE_ACK_EVENT,osFlagsWaitAny,timeout_ms);
        LOG_DEBUG("Flags:0x%.2x",flags);
        if ((int32_t)flags < 0)
        {
          LOG_WARN("ACK timeout for command type %d, retrying... (%d/3)", ack_queue_t.cmd_type, i + 1);
          if (i >= 2)
          {
            LOG_WARN("Failed to receive ACK after 3 attempts for command type %d", ack_queue_t.cmd_type);
          }
        }
        else if (flags & UART_RECEIVE_ACK_EVENT)
        {
          ACK_required = false; // 收到ACK，跳出重发循�?
          LOG_DEBUG("ACK received for command type %d", ack_queue_t.type);
        }

        osDelay(1000);
      }
    }
  }
  /* USER CODE END ACK_TASK */
}
